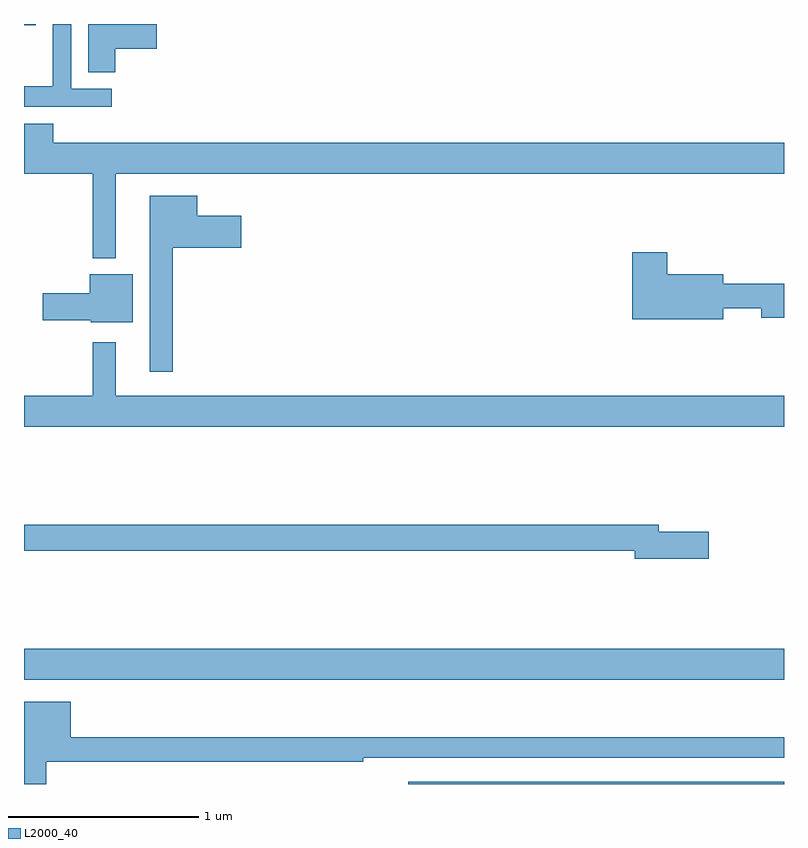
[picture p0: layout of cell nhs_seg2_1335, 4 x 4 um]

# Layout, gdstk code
import gdstk
lib = gdstk.Library(unit=1e-6, precision=1e-09)
def R(c, l, rs):  # rectangles x0, y0, x1, y1
    for r in rs: c.add(gdstk.rectangle(r[:2], r[2:], *l))
def P(c, l, *ps):  # polygons
    for p in ps: c.add(gdstk.Polygon(p, *l))
L2000_40 = (2000, 40)

nhs_seg2_1335 = lib.new_cell('nhs_seg2_1335')
R(nhs_seg2_1335, L2000_40, [(183.023,601.8,185,601.812), (181,602.348,185,602.512), (181,605.793,181.063,605.8)])
P(nhs_seg2_1335, L2000_40, [(181.462,605.46),(181.248,605.46),(181.248,605.8),(181.152,605.8),(181.152,605.696),(181.15,605.696),(181.15,605.473),(181,605.473),(181,605.364),(181.462,605.364)],
  [(181.481,605.669),(181.699,605.669),(181.699,605.8),(181.337,605.8),(181.337,605.545),(181.481,605.545)],
  [(181.483,605.012),(185,605.012),(185,605.176),(181.154,605.176),(181.154,605.275),(181.001,605.275),(181.001,605.176),(181,605.176),(181,605.012),(181.362,605.012),(181.362,604.568),(181.483,604.568)],
  [(181.783,604.622),(182.143,604.622),(182.143,604.792),(181.912,604.792),(181.912,604.897),(181.661,604.897),(181.661,603.969),(181.783,603.969)],
  [(184.681,604.305),(184.88,604.305),(184.88,604.255),(185,604.255),(185,604.433),(184.681,604.433),(184.681,604.483),(184.385,604.483),(184.385,604.6),(184.202,604.6),(184.202,604.247),(184.681,604.247)],
  [(181.573,604.483),(181.346,604.483),(181.346,604.382),(181.098,604.382),(181.098,604.24),(181.35,604.24),(181.35,604.229),(181.573,604.229)],
  [(185,603.844),(181.483,603.844),(181.483,604.126),(181.362,604.126),(181.362,603.844),(181,603.844),(181,603.68),(185,603.68)],
  [(184.603,603.128),(184.342,603.128),(184.342,603.164),(181,603.164),(181,603.028),(184.214,603.028),(184.214,602.986),(184.603,602.986)],
  [(181.117,601.918),(182.786,601.918),(182.786,601.938),(185,601.938),(185,602.047),(181.246,602.047),(181.246,602.233),(181,602.233),(181,601.8),(181.117,601.8)])

lib.write_gds('nhs_seg2_1335.gds')
